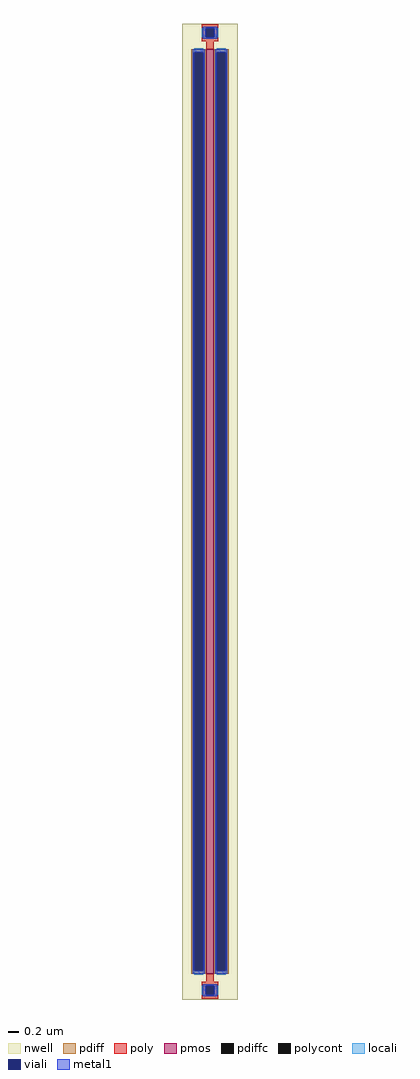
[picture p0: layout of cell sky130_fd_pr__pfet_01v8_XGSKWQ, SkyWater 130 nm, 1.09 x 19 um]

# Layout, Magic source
magic
tech sky130A
magscale 1 2
<< nwell >>
rect -109 -1900 109 1900
<< pmos >>
rect -15 -1800 15 1800
<< pdiff >>
rect -73 1788 -15 1800
rect -73 -1788 -61 1788
rect -27 -1788 -15 1788
rect -73 -1800 -15 -1788
rect 15 1788 73 1800
rect 15 -1788 27 1788
rect 61 -1788 73 1788
rect 15 -1800 73 -1788
<< pdiffc >>
rect -61 -1788 -27 1788
rect 27 -1788 61 1788
<< poly >>
rect -33 1881 33 1897
rect -33 1847 -17 1881
rect 17 1847 33 1881
rect -33 1831 33 1847
rect -15 1800 15 1831
rect -15 -1831 15 -1800
rect -33 -1847 33 -1831
rect -33 -1881 -17 -1847
rect 17 -1881 33 -1847
rect -33 -1897 33 -1881
<< polycont >>
rect -17 1847 17 1881
rect -17 -1881 17 -1847
<< locali >>
rect -33 1847 -17 1881
rect 17 1847 33 1881
rect -61 1788 -27 1804
rect -61 -1804 -27 -1788
rect 27 1788 61 1804
rect 27 -1804 61 -1788
rect -33 -1881 -17 -1847
rect 17 -1881 33 -1847
<< viali >>
rect -17 1847 17 1881
rect -61 -1788 -27 1788
rect 27 -1788 61 1788
rect -17 -1881 17 -1847
<< metal1 >>
rect -29 1881 29 1887
rect -29 1847 -17 1881
rect 17 1847 29 1881
rect -29 1841 29 1847
rect -67 1788 -21 1800
rect -67 -1788 -61 1788
rect -27 -1788 -21 1788
rect -67 -1800 -21 -1788
rect 21 1788 67 1800
rect 21 -1788 27 1788
rect 61 -1788 67 1788
rect 21 -1800 67 -1788
rect -29 -1847 29 -1841
rect -29 -1881 -17 -1847
rect 17 -1881 29 -1847
rect -29 -1887 29 -1881
<< properties >>
string gencell sky130_fd_pr__pfet_01v8
string library sky130
string parameters w 18.0 l 0.15 m 1 nf 1 diffcov 100 polycov 100 guard 0 glc 1 grc 1 gtc 1 gbc 1 tbcov 100 rlcov 100 topc 1 botc 1 poverlap 0 doverlap 1 lmin 0.15 wmin 0.42 compatible {sky130_fd_pr__pfet_01v8  sky130_fd_pr__pfet_01v8_lvt sky130_fd_pr__pfet_01v8_hvt  sky130_fd_pr__pfet_g5v0d10v5} full_metal 1 viasrc 100 viadrn 100 viagate 100 viagb 0 viagr 0 viagl 0 viagt 0
<< end >>
